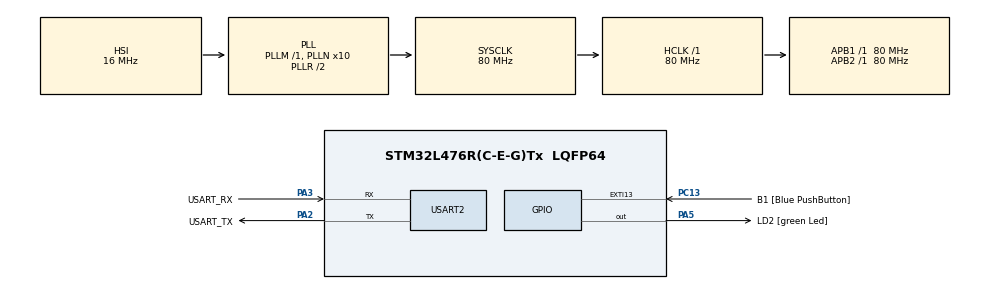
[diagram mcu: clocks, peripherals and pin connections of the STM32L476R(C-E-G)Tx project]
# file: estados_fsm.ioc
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Mcu.Family=STM32L4
Mcu.Name=STM32L476R(C-E-G)Tx
Mcu.Package=LQFP64
NVIC.PriorityGroup=NVIC_PRIORITYGROUP_4
PA13\ (JTMS-SWDIO).GPIO_Label=TMS
PA13\ (JTMS-SWDIO).Mode=Serial_Wire
PA13\ (JTMS-SWDIO).Signal=SYS_JTMS-SWDIO
PA14\ (JTCK-SWCLK).GPIO_Label=TCK
PA14\ (JTCK-SWCLK).Mode=Serial_Wire
PA14\ (JTCK-SWCLK).Signal=SYS_JTCK-SWCLK
PA2.GPIO_Label=USART_TX
PA2.GPIO_Mode=GPIO_MODE_AF_PP
PA2.GPIO_PuPd=GPIO_NOPULL
PA2.GPIO_Speed=GPIO_SPEED_FREQ_VERY_HIGH
PA2.Mode=Asynchronous
PA2.Signal=USART2_TX
PA3.GPIO_Label=USART_RX
PA3.GPIO_Mode=GPIO_MODE_AF_PP
PA3.GPIO_PuPd=GPIO_NOPULL
PA3.GPIO_Speed=GPIO_SPEED_FREQ_VERY_HIGH
PA3.Mode=Asynchronous
PA3.Signal=USART2_RX
PA5.GPIO_Label=LD2 [green Led]
PA5.GPIO_ModeDefaultOutputPP=GPIO_MODE_OUTPUT_PP
PA5.GPIO_PuPd=GPIO_NOPULL
PA5.GPIO_Speed=GPIO_SPEED_FREQ_LOW
PA5.Signal=GPIO_Output
PB3\ (JTDO-TRACESWO).GPIO_Label=SWO
PB3\ (JTDO-TRACESWO).Signal=SYS_JTDO-SWO
PC13.GPIO_Label=B1 [Blue PushButton]
PC13.GPIO_ModeDefaultEXTI=GPIO_MODE_IT_FALLING
PC13.GPIO_PuPd=GPIO_NOPULL
PC13.Signal=GPXTI13
PC14-OSC32_IN\ (PC14).Mode=LSE-External-Oscillator
PC14-OSC32_IN\ (PC14).Signal=RCC_OSC32_IN
PC15-OSC32_OUT\ (PC15).Mode=LSE-External-Oscillator
PC15-OSC32_OUT\ (PC15).Signal=RCC_OSC32_OUT
PH0-OSC_IN\ (PH0).Signal=RCC_OSC_IN
PH1-OSC_OUT\ (PH1).Signal=RCC_OSC_OUT
ProjectManager.HeapSize=0x200
ProjectManager.StackSize=0x400
ProjectManager.TargetToolchain=STM32CubeIDE
RCC.ADCFreq_Value=64000000
RCC.AHBFreq_Value=80000000
RCC.APB1Freq_Value=80000000
RCC.APB1TimFreq_Value=80000000
RCC.APB2Freq_Value=80000000
RCC.APB2TimFreq_Value=80000000
RCC.CortexFreq_Value=80000000
RCC.HCLKFreq_Value=80000000
RCC.HSE_VALUE=8000000
RCC.HSI_VALUE=16000000
RCC.MSI_VALUE=4000000
RCC.PLLN=10
RCC.PLLSourceVirtual=RCC_PLLSOURCE_HSI
RCC.PREFETCH_ENABLE=1
RCC.SYSCLKFreq_VALUE=80000000
RCC.SYSCLKSource=RCC_SYSCLKSOURCE_PLLCLK
RCC.USBFreq_Value=64000000
RCC.VCOOutputFreq_Value=160000000
USART2.VirtualMode-Asynchronous=VM_ASYNC
board=NUCLEO-L476RG

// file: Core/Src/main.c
/* USER CODE BEGIN Header */
/**
  ******************************************************************************
  * @file           : main.c
  * @brief          : Main program body
  ******************************************************************************
  * @attention
  *
  * <h2><center>&copy; Copyright (c) 2020 STMicroelectronics.
  * All rights reserved.</center></h2>
  *
  * This software component is licensed by ST under BSD 3-Clause license,
  * the "License"; You may not use this file except in compliance with the
  * License. You may obtain a copy of the License at:
  *                        opensource.org/licenses/BSD-3-Clause
  *
  ******************************************************************************
  */
/* USER CODE END Header */

#include "main.h"

UART_HandleTypeDef huart2;

void SystemClock_Config(void);
static void MX_GPIO_Init(void);
static void MX_USART2_UART_Init(void);

int main(void)
{

  /* MCU Configuration--------------------------------------------------------*/

  /* Reset of all peripherals, Initializes the Flash interface and the Systick. */
  HAL_Init();

  /* Configure the system clock */
  SystemClock_Config();

  /* Initialize all configured peripherals */
  MX_GPIO_Init();
  MX_USART2_UART_Init();
  /* USER CODE BEGIN 2 */

  current_state = LED_ON_UP;

  /* USER CODE END 2 */

  /* Infinite loop */
  while (1)
  {

	current_input = get_input();

	switch (current_state) {
		case LED_ON_UP:
			switch (current_input) {
				case PB_DOWN:
					current_state = LED_ON_DOWN;
					break;
				default:
					current_state = LED_ON_UP;
			}
			break;
		case LED_ON_DOWN:
			switch (current_input) {
				case PB_DOWN:
					current_state = LED_ON_DOWN;
					break;
				default:
					current_state = LED_OFF_UP;
			}
			break;
		case LED_OFF_UP:
			switch (current_input) {
				case PB_DOWN:
					current_state = LED_OFF_DOWN;
					break;
				default:
					current_state = LED_OFF_UP;
			}
			break;
		case LED_OFF_DOWN:
			switch (current_input) {
				case PB_DOWN:
					current_state = LED_OFF_DOWN;
					break;
				default:
					current_state = LED_BLINK_UP;
			}
			break;
		case LED_BLINK_UP:
			switch (current_input) {
				case PB_DOWN:
					current_state = LED_BLINK_DOWN;
					break;
				default:
					current_state = LED_BLINK_UP;
			}
			break;
		case LED_BLINK_DOWN:
			switch (current_input) {
				case PB_DOWN:
					current_state = LED_BLINK_DOWN;
					break;
				default:
					current_state = LED_MORSE_UP;
			}
			break;
		case LED_MORSE_UP:
			switch (current_input) {
				case PB_DOWN:
					current_state = LED_MORSE_DOWN;
					break;
				default:
					current_state = LED_MORSE_UP;
			}
			break;
		case LED_MORSE_DOWN:
			switch (current_input) {
				case PB_DOWN:
					current_state = LED_MORSE_DOWN;
					break;
				default:
					current_state = LED_ON_UP;
			}
	}

	set_output(current_state);

  }
}

void SystemClock_Config(void)
{
  RCC_OscInitTypeDef RCC_OscInitStruct = {0};
  RCC_ClkInitTypeDef RCC_ClkInitStruct = {0};
  RCC_PeriphCLKInitTypeDef PeriphClkInit = {0};

  /** Initializes the CPU, AHB and APB busses clocks
  */
  RCC_OscInitStruct.OscillatorType = RCC_OSCILLATORTYPE_HSI;
  RCC_OscInitStruct.HSIState = RCC_HSI_ON;
  RCC_OscInitStruct.HSICalibrationValue = RCC_HSICALIBRATION_DEFAULT;
  RCC_OscInitStruct.PLL.PLLState = RCC_PLL_ON;
  RCC_OscInitStruct.PLL.PLLSource = RCC_PLLSOURCE_HSI;
  RCC_OscInitStruct.PLL.PLLM = 1;
  RCC_OscInitStruct.PLL.PLLN = 10;
  RCC_OscInitStruct.PLL.PLLP = RCC_PLLP_DIV7;
  RCC_OscInitStruct.PLL.PLLQ = RCC_PLLQ_DIV2;
  RCC_OscInitStruct.PLL.PLLR = RCC_PLLR_DIV2;
  if (HAL_RCC_OscConfig(&RCC_OscInitStruct) != HAL_OK)
  {
    Error_Handler();
  }
  /** Initializes the CPU, AHB and APB busses clocks
  */
  RCC_ClkInitStruct.ClockType = RCC_CLOCKTYPE_HCLK|RCC_CLOCKTYPE_SYSCLK
                              |RCC_CLOCKTYPE_PCLK1|RCC_CLOCKTYPE_PCLK2;
  RCC_ClkInitStruct.SYSCLKSource = RCC_SYSCLKSOURCE_PLLCLK;
  RCC_ClkInitStruct.AHBCLKDivider = RCC_SYSCLK_DIV1;
  RCC_ClkInitStruct.APB1CLKDivider = RCC_HCLK_DIV1;
  RCC_ClkInitStruct.APB2CLKDivider = RCC_HCLK_DIV1;

  if (HAL_RCC_ClockConfig(&RCC_ClkInitStruct, FLASH_LATENCY_4) != HAL_OK)
  {
    Error_Handler();
  }
  PeriphClkInit.PeriphClockSelection = RCC_PERIPHCLK_USART2;
  PeriphClkInit.Usart2ClockSelection = RCC_USART2CLKSOURCE_PCLK1;
  if (HAL_RCCEx_PeriphCLKConfig(&PeriphClkInit) != HAL_OK)
  {
    Error_Handler();
  }
  /** Configure the main internal regulator output voltage
  */
  if (HAL_PWREx_ControlVoltageScaling(PWR_REGULATOR_VOLTAGE_SCALE1) != HAL_OK)
  {
    Error_Handler();
  }
}

static void MX_USART2_UART_Init(void)
{

  huart2.Instance = USART2;
  huart2.Init.BaudRate = 115200;
  huart2.Init.WordLength = UART_WORDLENGTH_8B;
  huart2.Init.StopBits = UART_STOPBITS_1;
  huart2.Init.Parity = UART_PARITY_NONE;
  huart2.Init.Mode = UART_MODE_TX_RX;
  huart2.Init.HwFlowCtl = UART_HWCONTROL_NONE;
  huart2.Init.OverSampling = UART_OVERSAMPLING_16;
  huart2.Init.OneBitSampling = UART_ONE_BIT_SAMPLE_DISABLE;
  huart2.AdvancedInit.AdvFeatureInit = UART_ADVFEATURE_NO_INIT;
  if (HAL_UART_Init(&huart2) != HAL_OK)
  {
    Error_Handler();
  }

}

static void MX_GPIO_Init(void)
{
  GPIO_InitTypeDef GPIO_InitStruct = {0};

  /* GPIO Ports Clock Enable */
  __HAL_RCC_GPIOC_CLK_ENABLE();
  __HAL_RCC_GPIOH_CLK_ENABLE();
  __HAL_RCC_GPIOA_CLK_ENABLE();
  __HAL_RCC_GPIOB_CLK_ENABLE();

  /*Configure GPIO pin Output Level */
  HAL_GPIO_WritePin(LD2_GPIO_Port, LD2_Pin, GPIO_PIN_RESET);

  /*Configure GPIO pin : B1_Pin */
  GPIO_InitStruct.Pin = B1_Pin;
  GPIO_InitStruct.Mode = GPIO_MODE_IT_FALLING;
  GPIO_InitStruct.Pull = GPIO_NOPULL;
  HAL_GPIO_Init(B1_GPIO_Port, &GPIO_InitStruct);

  /*Configure GPIO pin : LD2_Pin */
  GPIO_InitStruct.Pin = LD2_Pin;
  GPIO_InitStruct.Mode = GPIO_MODE_OUTPUT_PP;
  GPIO_InitStruct.Pull = GPIO_NOPULL;
  GPIO_InitStruct.Speed = GPIO_SPEED_FREQ_LOW;
  HAL_GPIO_Init(LD2_GPIO_Port, &GPIO_InitStruct);

}

/* USER CODE BEGIN 4 */

uint8_t get_input(void) {
	if (!HAL_GPIO_ReadPin(B1_GPIO_Port, B1_Pin))
		return PB_DOWN;
	else
		return PB_UP;
}

void set_output(uint8_t current_state) {
	switch (current_state) {
		case LED_ON_UP:
		case LED_ON_DOWN:
			HAL_GPIO_WritePin(LD2_GPIO_Port, LD2_Pin, SET);
			break;
		case LED_OFF_UP:
		case LED_OFF_DOWN:
			HAL_GPIO_WritePin(LD2_GPIO_Port, LD2_Pin, RESET);
			break;
		case LED_BLINK_UP:
		case LED_BLINK_DOWN:
			HAL_GPIO_TogglePin(LD2_GPIO_Port, LD2_Pin);
			HAL_Delay(1000);
			break;
		case LED_MORSE_UP:
		case LED_MORSE_DOWN:
			HAL_GPIO_WritePin(LD2_GPIO_Port, LD2_Pin, SET);
			HAL_Delay(100);
			HAL_GPIO_WritePin(LD2_GPIO_Port, LD2_Pin, RESET);
			HAL_Delay(100);
			HAL_GPIO_WritePin(LD2_GPIO_Port, LD2_Pin, SET);
			HAL_Delay(300);
			HAL_GPIO_WritePin(LD2_GPIO_Port, LD2_Pin, RESET);
			HAL_Delay(100);
	}
}

/* USER CODE END 4 */

void Error_Handler(void)
{
}

/************************ (C) COPYRIGHT STMicroelectronics *****END OF FILE****/
